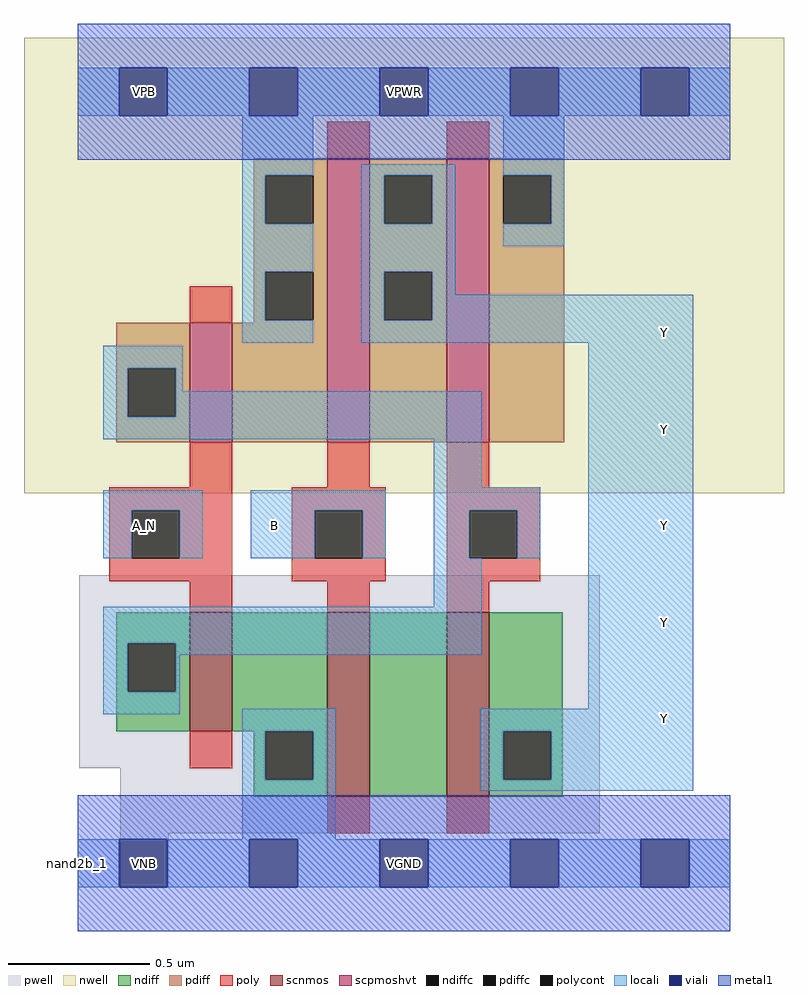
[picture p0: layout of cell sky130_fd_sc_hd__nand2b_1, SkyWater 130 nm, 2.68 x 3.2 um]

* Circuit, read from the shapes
.subckt sky130_fd_sc_hd__nand2b_1 A_N B VGND VNB VPB VPWR Y
XM1 VGND A_N n1 VNB sky130_fd_pr__nfet_01v8 w=0.42 l=0.15
XM2 n2 B VGND VNB sky130_fd_pr__nfet_01v8 w=0.65 l=0.15
XM3 Y n1 n2 VNB sky130_fd_pr__nfet_01v8 w=0.65 l=0.15
XM4 VPWR A_N n1 VPB sky130_fd_pr__pfet_01v8_hvt w=0.42 l=0.15
XM5 Y B VPWR VPB sky130_fd_pr__pfet_01v8_hvt w=1 l=0.15
XM6 VPWR n1 Y VPB sky130_fd_pr__pfet_01v8_hvt w=1 l=0.15
.ends

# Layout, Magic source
magic
tech sky130A
magscale 1 2
<< nwell >>
rect -38 261 498 582
<< pwell >>
rect 1 67 368 203
rect 30 21 368 67
rect 30 -17 64 21
<< scnmos >>
rect 79 93 109 177
rect 176 47 206 177
rect 260 47 290 177
<< scpmoshvt >>
rect 79 297 109 381
rect 176 297 206 497
rect 260 297 290 497
<< ndiff >>
rect 27 155 79 177
rect 27 121 35 155
rect 69 121 79 155
rect 27 93 79 121
rect 109 93 176 177
rect 124 59 132 93
rect 166 59 176 93
rect 124 47 176 59
rect 206 47 260 177
rect 290 93 342 177
rect 290 59 300 93
rect 334 59 342 93
rect 290 47 342 59
<< pdiff >>
rect 124 485 176 497
rect 124 451 132 485
rect 166 451 176 485
rect 124 417 176 451
rect 124 383 132 417
rect 166 383 176 417
rect 124 381 176 383
rect 27 349 79 381
rect 27 315 35 349
rect 69 315 79 349
rect 27 297 79 315
rect 109 297 176 381
rect 206 485 260 497
rect 206 451 216 485
rect 250 451 260 485
rect 206 417 260 451
rect 206 383 216 417
rect 250 383 260 417
rect 206 297 260 383
rect 290 485 343 497
rect 290 451 300 485
rect 334 451 343 485
rect 290 297 343 451
<< ndiffc >>
rect 35 121 69 155
rect 132 59 166 93
rect 300 59 334 93
<< pdiffc >>
rect 132 451 166 485
rect 132 383 166 417
rect 35 315 69 349
rect 216 451 250 485
rect 216 383 250 417
rect 300 451 334 485
<< poly >>
rect 176 497 206 523
rect 260 497 290 523
rect 79 381 109 407
rect 79 265 109 297
rect 176 265 206 297
rect 260 265 290 297
rect 22 249 109 265
rect 22 215 38 249
rect 72 215 109 249
rect 22 199 109 215
rect 151 249 217 265
rect 151 215 167 249
rect 201 215 217 249
rect 151 199 217 215
rect 260 249 326 265
rect 260 215 276 249
rect 310 215 326 249
rect 260 199 326 215
rect 79 177 109 199
rect 176 177 206 199
rect 260 177 290 199
rect 79 67 109 93
rect 176 21 206 47
rect 260 21 290 47
<< polycont >>
rect 38 215 72 249
rect 167 215 201 249
rect 276 215 310 249
<< locali >>
rect 0 527 29 561
rect 63 527 121 561
rect 155 527 213 561
rect 247 527 305 561
rect 339 527 397 561
rect 431 527 460 561
rect 116 485 166 527
rect 116 451 132 485
rect 116 417 166 451
rect 116 383 132 417
rect 116 367 166 383
rect 200 485 266 493
rect 200 451 216 485
rect 250 451 266 485
rect 200 417 266 451
rect 300 485 343 527
rect 334 451 343 485
rect 300 435 343 451
rect 200 383 216 417
rect 250 401 266 417
rect 250 383 434 401
rect 200 367 434 383
rect 18 349 74 365
rect 18 315 35 349
rect 69 333 74 349
rect 69 315 285 333
rect 18 299 285 315
rect 251 265 285 299
rect 18 249 88 263
rect 18 215 38 249
rect 72 215 88 249
rect 122 249 217 263
rect 122 215 167 249
rect 201 215 217 249
rect 251 249 326 265
rect 251 215 276 249
rect 310 215 326 249
rect 251 181 285 215
rect 18 155 285 181
rect 18 121 35 155
rect 69 147 285 155
rect 69 121 72 147
rect 18 105 72 121
rect 360 109 434 367
rect 116 93 182 109
rect 116 59 132 93
rect 166 59 182 93
rect 116 17 182 59
rect 284 93 434 109
rect 284 59 300 93
rect 334 59 434 93
rect 284 51 434 59
rect 0 -17 29 17
rect 63 -17 121 17
rect 155 -17 213 17
rect 247 -17 305 17
rect 339 -17 397 17
rect 431 -17 460 17
<< viali >>
rect 29 527 63 561
rect 121 527 155 561
rect 213 527 247 561
rect 305 527 339 561
rect 397 527 431 561
rect 29 -17 63 17
rect 121 -17 155 17
rect 213 -17 247 17
rect 305 -17 339 17
rect 397 -17 431 17
<< metal1 >>
rect 0 561 460 592
rect 0 527 29 561
rect 63 527 121 561
rect 155 527 213 561
rect 247 527 305 561
rect 339 527 397 561
rect 431 527 460 561
rect 0 496 460 527
rect 0 17 460 48
rect 0 -17 29 17
rect 63 -17 121 17
rect 155 -17 213 17
rect 247 -17 305 17
rect 339 -17 397 17
rect 431 -17 460 17
rect 0 -48 460 -17
<< labels >>
flabel locali s 397 357 431 391 0 FreeSans 250 0 0 0 Y
port 7 nsew signal output
flabel locali s 397 289 431 323 0 FreeSans 250 0 0 0 Y
port 7 nsew signal output
flabel locali s 397 85 431 119 0 FreeSans 250 0 0 0 Y
port 7 nsew signal output
flabel locali s 397 221 431 255 0 FreeSans 250 0 0 0 Y
port 7 nsew signal output
flabel locali s 397 153 431 187 0 FreeSans 250 0 0 0 Y
port 7 nsew signal output
flabel locali s 30 221 64 255 0 FreeSans 250 0 0 0 A_N
port 1 nsew signal input
flabel locali s 122 221 156 255 0 FreeSans 250 0 0 0 B
port 2 nsew signal input
flabel nwell s 30 527 64 561 0 FreeSans 200 0 0 0 VPB
port 5 nsew power bidirectional
flabel pwell s 30 -17 64 17 0 FreeSans 200 0 0 0 VNB
port 4 nsew ground bidirectional
flabel metal1 s 30 -17 64 17 0 FreeSans 200 0 0 0 VGND
port 3 nsew ground bidirectional abutment
flabel metal1 s 30 527 64 561 0 FreeSans 200 0 0 0 VPWR
port 6 nsew power bidirectional abutment
rlabel comment s 0 0 0 0 4 nand2b_1
rlabel metal1 s 0 -48 460 48 1 VGND
port 3 nsew ground bidirectional abutment
rlabel metal1 s 0 496 460 592 1 VPWR
port 6 nsew power bidirectional abutment
<< properties >>
string FIXED_BBOX 0 0 460 544
string GDS_END 1742060
string GDS_FILE $PDKPATH/libs.ref/sky130_fd_sc_hd/gds/sky130_fd_sc_hd.gds
string GDS_START 1737530
string LEFclass CORE
string LEFsite unithd
string LEFsymmetry X Y R90
string path 0.000 0.000 11.500 0.000 
<< end >>
